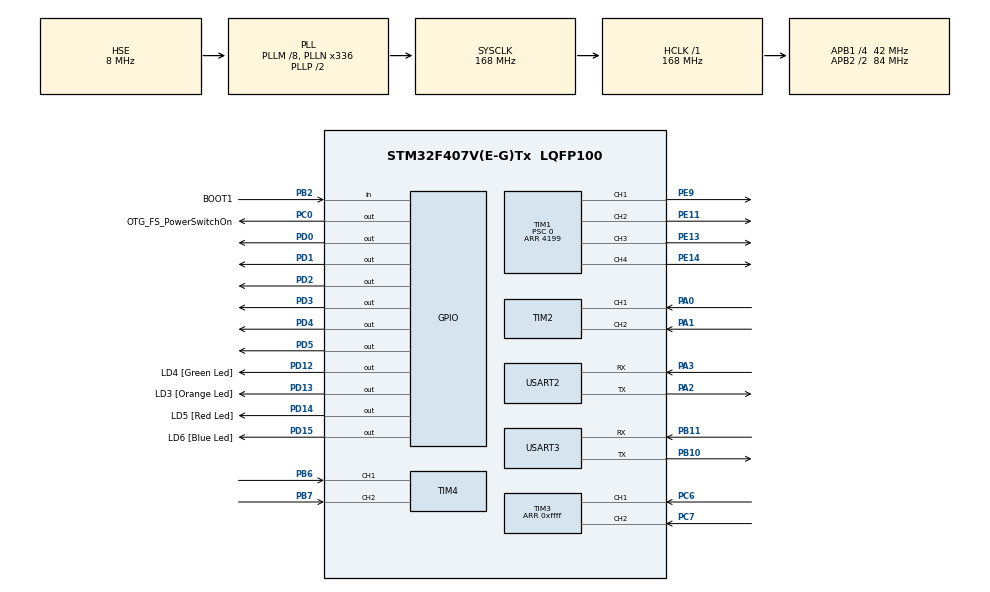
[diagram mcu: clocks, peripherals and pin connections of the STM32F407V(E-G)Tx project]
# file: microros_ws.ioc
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Dma.Request0=USART2_TX
Dma.Request1=USART2_RX
Dma.Request2=USART3_RX
Dma.Request3=USART3_TX
Dma.USART2_RX.1.Direction=DMA_PERIPH_TO_MEMORY
Dma.USART2_RX.1.FIFOMode=DMA_FIFOMODE_DISABLE
Dma.USART2_RX.1.Instance=DMA1_Stream5
Dma.USART2_RX.1.MemDataAlignment=DMA_MDATAALIGN_BYTE
Dma.USART2_RX.1.MemInc=DMA_MINC_ENABLE
Dma.USART2_RX.1.Mode=DMA_CIRCULAR
Dma.USART2_RX.1.PeriphDataAlignment=DMA_PDATAALIGN_BYTE
Dma.USART2_RX.1.PeriphInc=DMA_PINC_DISABLE
Dma.USART2_RX.1.Priority=DMA_PRIORITY_VERY_HIGH
Dma.USART2_TX.0.Direction=DMA_MEMORY_TO_PERIPH
Dma.USART2_TX.0.FIFOMode=DMA_FIFOMODE_DISABLE
Dma.USART2_TX.0.Instance=DMA1_Stream6
Dma.USART2_TX.0.MemDataAlignment=DMA_MDATAALIGN_BYTE
Dma.USART2_TX.0.MemInc=DMA_MINC_ENABLE
Dma.USART2_TX.0.Mode=DMA_NORMAL
Dma.USART2_TX.0.PeriphDataAlignment=DMA_PDATAALIGN_BYTE
Dma.USART2_TX.0.PeriphInc=DMA_PINC_DISABLE
Dma.USART2_TX.0.Priority=DMA_PRIORITY_VERY_HIGH
Dma.USART3_RX.2.Direction=DMA_PERIPH_TO_MEMORY
Dma.USART3_RX.2.FIFOMode=DMA_FIFOMODE_DISABLE
Dma.USART3_RX.2.Instance=DMA1_Stream1
Dma.USART3_RX.2.MemDataAlignment=DMA_MDATAALIGN_BYTE
Dma.USART3_RX.2.MemInc=DMA_MINC_ENABLE
Dma.USART3_RX.2.Mode=DMA_NORMAL
Dma.USART3_RX.2.PeriphDataAlignment=DMA_PDATAALIGN_BYTE
Dma.USART3_RX.2.PeriphInc=DMA_PINC_DISABLE
Dma.USART3_RX.2.Priority=DMA_PRIORITY_LOW
Dma.USART3_TX.3.Direction=DMA_MEMORY_TO_PERIPH
Dma.USART3_TX.3.FIFOMode=DMA_FIFOMODE_DISABLE
Dma.USART3_TX.3.Instance=DMA1_Stream3
Dma.USART3_TX.3.MemDataAlignment=DMA_MDATAALIGN_BYTE
Dma.USART3_TX.3.MemInc=DMA_MINC_ENABLE
Dma.USART3_TX.3.Mode=DMA_NORMAL
Dma.USART3_TX.3.PeriphDataAlignment=DMA_PDATAALIGN_BYTE
Dma.USART3_TX.3.PeriphInc=DMA_PINC_DISABLE
Dma.USART3_TX.3.Priority=DMA_PRIORITY_LOW
FREERTOS.Tasks01=defaultTask,24,3000,StartDefaultTask,Default,NULL,Dynamic,NULL,NULL
Mcu.Family=STM32F4
Mcu.Name=STM32F407V(E-G)Tx
Mcu.Package=LQFP100
NVIC.DMA1_Stream1_IRQn=true\:5\:0\:false\:false\:true\:true\:false\:true\:true
NVIC.DMA1_Stream3_IRQn=true\:5\:0\:false\:false\:true\:true\:false\:true\:true
NVIC.DMA1_Stream5_IRQn=true\:5\:0\:false\:false\:true\:true\:false\:true\:true
NVIC.DMA1_Stream6_IRQn=true\:5\:0\:false\:false\:true\:true\:false\:true\:true
NVIC.PriorityGroup=NVIC_PRIORITYGROUP_4
NVIC.TIM1_BRK_TIM9_IRQn=true\:5\:0\:false\:false\:true\:false\:false\:true\:true
NVIC.TIM1_UP_TIM10_IRQn=true\:5\:0\:false\:false\:true\:true\:true\:true\:true
NVIC.TIM8_UP_TIM13_IRQn=true\:5\:0\:false\:false\:true\:true\:true\:true\:true
NVIC.USART2_IRQn=true\:5\:0\:false\:false\:true\:true\:true\:true\:true
NVIC.USART3_IRQn=true\:5\:0\:false\:false\:true\:true\:true\:true\:true
PA0-WKUP.Signal=S_TIM2_CH1_ETR
PA1.Signal=S_TIM2_CH2
PA13.GPIO_Label=SWDIO
PA13.Mode=Serial_Wire
PA13.Signal=SYS_JTMS-SWDIO
PA14.GPIO_Label=SWCLK
PA14.Mode=Serial_Wire
PA14.Signal=SYS_JTCK-SWCLK
PA2.Mode=Asynchronous
PA2.Signal=USART2_TX
PA3.Mode=Asynchronous
PA3.Signal=USART2_RX
PB10.Mode=Asynchronous
PB10.Signal=USART3_TX
PB11.Mode=Asynchronous
PB11.Signal=USART3_RX
PB2.GPIO_Label=BOOT1
PB2.GPIO_Mode=GPIO_MODE_INPUT
PB2.GPIO_PuPd=GPIO_NOPULL
PB2.Signal=GPIO_Input
PB6.Signal=S_TIM4_CH1
PB7.Signal=S_TIM4_CH2
PC0.GPIO_Label=OTG_FS_PowerSwitchOn
PC0.GPIO_PuPd=GPIO_NOPULL
PC0.GPIO_Speed=GPIO_SPEED_FREQ_LOW
PC0.PinState=GPIO_PIN_SET
PC0.Signal=GPIO_Output
PC14-OSC32_IN.Mode=LSE-External-Oscillator
PC14-OSC32_IN.Signal=RCC_OSC32_IN
PC15-OSC32_OUT.Mode=LSE-External-Oscillator
PC15-OSC32_OUT.Signal=RCC_OSC32_OUT
PC6.Signal=S_TIM3_CH1
PC7.Signal=S_TIM3_CH2
PD0.Signal=GPIO_Output
PD1.Signal=GPIO_Output
PD12.GPIO_Label=LD4 [Green Led]
PD12.GPIO_PuPd=GPIO_NOPULL
PD12.GPIO_Speed=GPIO_SPEED_FREQ_LOW
PD12.Signal=GPIO_Output
PD13.GPIO_Label=LD3 [Orange Led]
PD13.GPIO_PuPd=GPIO_NOPULL
PD13.GPIO_Speed=GPIO_SPEED_FREQ_LOW
PD13.Signal=GPIO_Output
PD14.GPIO_Label=LD5 [Red Led]
PD14.GPIO_PuPd=GPIO_NOPULL
PD14.GPIO_Speed=GPIO_SPEED_FREQ_LOW
PD14.Signal=GPIO_Output
PD15.GPIO_Label=LD6 [Blue Led]
PD15.GPIO_PuPd=GPIO_NOPULL
PD15.GPIO_Speed=GPIO_SPEED_FREQ_LOW
PD15.Signal=GPIO_Output
PD2.Signal=GPIO_Output
PD3.Signal=GPIO_Output
PD4.Signal=GPIO_Output
PD5.Signal=GPIO_Output
PE11.Signal=S_TIM1_CH2
PE13.Signal=S_TIM1_CH3
PE14.Signal=S_TIM1_CH4
PE9.Signal=S_TIM1_CH1
PH0-OSC_IN.Mode=HSE-External-Oscillator
PH0-OSC_IN.Signal=RCC_OSC_IN
PH1-OSC_OUT.Mode=HSE-External-Oscillator
PH1-OSC_OUT.Signal=RCC_OSC_OUT
ProjectManager.HeapSize=0x200
ProjectManager.StackSize=0x400
ProjectManager.TargetToolchain=STM32CubeIDE
RCC.48MHZClocksFreq_Value=48000000
RCC.AHBFreq_Value=168000000
RCC.APB1CLKDivider=RCC_HCLK_DIV4
RCC.APB1Freq_Value=42000000
RCC.APB1TimFreq_Value=84000000
RCC.APB2CLKDivider=RCC_HCLK_DIV2
RCC.APB2Freq_Value=84000000
RCC.APB2TimFreq_Value=168000000
RCC.CortexFreq_Value=168000000
RCC.HCLKFreq_Value=168000000
RCC.HSE_VALUE=8000000
RCC.HSI_VALUE=16000000
RCC.PLLM=8
RCC.PLLN=336
RCC.PLLQ=7
RCC.PLLSourceVirtual=RCC_PLLSOURCE_HSE
RCC.SYSCLKFreq_VALUE=168000000
RCC.SYSCLKSource=RCC_SYSCLKSOURCE_PLLCLK
RCC.VCOOutputFreq_Value=336000000
SH.S_TIM1_CH1.0=TIM1_CH1,PWM Generation1 CH1
SH.S_TIM1_CH2.0=TIM1_CH2,PWM Generation2 CH2
SH.S_TIM1_CH3.0=TIM1_CH3,PWM Generation3 CH3
SH.S_TIM1_CH4.0=TIM1_CH4,PWM Generation4 CH4
SH.S_TIM2_CH1_ETR.0=TIM2_CH1,Encoder_Interface
SH.S_TIM2_CH2.0=TIM2_CH2,Encoder_Interface
SH.S_TIM3_CH1.0=TIM3_CH1,Encoder_Interface
SH.S_TIM3_CH2.0=TIM3_CH2,Encoder_Interface
SH.S_TIM4_CH1.0=TIM4_CH1,Encoder_Interface
SH.S_TIM4_CH2.0=TIM4_CH2,Encoder_Interface
TIM1.Channel-PWM\ Generation1\ CH1=TIM_CHANNEL_1
TIM1.Channel-PWM\ Generation2\ CH2=TIM_CHANNEL_2
TIM1.Channel-PWM\ Generation3\ CH3=TIM_CHANNEL_3
TIM1.Channel-PWM\ Generation4\ CH4=TIM_CHANNEL_4
TIM1.Period=4199
TIM1.Prescaler=0
TIM2.EncoderMode=TIM_ENCODERMODE_TI12
TIM3.EncoderMode=TIM_ENCODERMODE_TI12
TIM3.Period=0xffff
TIM4.EncoderMode=TIM_ENCODERMODE_TI12
TIM8.AutoReloadPreload=TIM_AUTORELOAD_PRELOAD_ENABLE
TIM8.Period=9999 
TIM8.Prescaler=167
USART2.VirtualMode=VM_ASYNC
USART3.VirtualMode=VM_ASYNC
VP_FREERTOS_VS_CMSIS_V2.Mode=CMSIS_V2
VP_TIM8_VS_ClockSourceINT.Mode=Internal
board=STM32F407G-DISC1

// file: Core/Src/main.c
/* USER CODE BEGIN Header */
/**
  ******************************************************************************
  * @file           : main.c
  * @brief          : Main program body
  ******************************************************************************
  * @attention
  *
  * Copyright (c) 2025 STMicroelectronics.
  * All rights reserved.
  *
  * This software is licensed under terms that can be found in the LICENSE file
  * in the root directory of this software component.
  * If no LICENSE file comes with this software, it is provided AS-IS.
  *
  ******************************************************************************
  */
/* USER CODE END Header */
#include "main.h"
#include "cmsis_os.h"

/* USER CODE BEGIN Includes */
#include <rcl/rcl.h>
#include <rcl/error_handling.h>
#include <rclc/rclc.h>
#include <rclc/executor.h>
#include <uxr/client/transport.h>
#include <rmw_microxrcedds_c/config.h>
#include <rmw_microros/rmw_microros.h>
#include <std_msgs/msg/float32.h>
#include <geometry_msgs/msg/twist.h>
#include <geometry_msgs/msg/twist_stamped.h>
#include <std_msgs/msg/int32.h>
#include <sensor_msgs/msg/joint_state.h>
#include <rosidl_runtime_c/string_functions.h>
#include <geometry_msgs/msg/vector3.h>
#include <math.h>
#include "stdio.h"
#include "string.h"
#include "motor.h"
#include "user_define.h"
/* USER CODE END Includes */

/* USER CODE BEGIN PD */
#define TICKS_TO_RAD (2.0f * 3.14159265f / (float)PPR)
/* USER CODE END PD */

TIM_HandleTypeDef htim1;
TIM_HandleTypeDef htim2;
TIM_HandleTypeDef htim3;
TIM_HandleTypeDef htim4;
TIM_HandleTypeDef htim8;

UART_HandleTypeDef huart2;
UART_HandleTypeDef huart3;
DMA_HandleTypeDef hdma_usart2_tx;
DMA_HandleTypeDef hdma_usart2_rx;
DMA_HandleTypeDef hdma_usart3_rx;
DMA_HandleTypeDef hdma_usart3_tx;

/* Definitions for defaultTask */
osThreadId_t defaultTaskHandle;
const osThreadAttr_t defaultTask_attributes = {
  .name = "defaultTask",
  .stack_size = 3000 * 4,
  .priority = (osPriority_t) osPriorityNormal,
};
/* USER CODE BEGIN PV */
int64_t total_ticks_left = 0;
int64_t total_ticks_right = 0;
uint16_t last_counter_left = 0;
uint16_t last_counter_right = 0;
volatile bool is_ros_connected = false;
volatile float current_test_setpoint = 0.0f;
double joint_position_buffer[4];
double joint_velocity_buffer[4];
rosidl_runtime_c__String joint_name_buffer[4];
geometry_msgs__msg__TwistStamped cmd_vel_msg;
sensor_msgs__msg__JointState joint_msg;
geometry_msgs__msg__Vector3 pid_msg;
/* USER CODE END PV */

void SystemClock_Config(void);
static void MX_GPIO_Init(void);
static void MX_DMA_Init(void);
static void MX_USART2_UART_Init(void);
static void MX_TIM1_Init(void);
static void MX_TIM3_Init(void);
static void MX_TIM4_Init(void);
static void MX_USART3_UART_Init(void);
static void MX_TIM2_Init(void);
static void MX_TIM8_Init(void);
void StartDefaultTask(void *argument);

/* USER CODE BEGIN 0 */
Motor_t motor2, motor3,motor_steering;
PID_CONTROL_t pid_vel1, pid_vel2,pid_pos;
volatile float target_speed;
volatile float target_angle;
extern float dkp;
extern float dki;
extern float dkd;
volatile float debug_omega;
extern float dset_point;
/* USER CODE END 0 */

int main(void)
{

  /* MCU Configuration--------------------------------------------------------*/

  /* Reset of all peripherals, Initializes the Flash interface and the Systick. */
  HAL_Init();

  /* Configure the system clock */
  SystemClock_Config();

  /* Initialize all configured peripherals */
  MX_GPIO_Init();
  MX_DMA_Init();
  MX_USART2_UART_Init();
  MX_TIM1_Init();
  MX_TIM3_Init();
  MX_TIM4_Init();
  MX_USART3_UART_Init();
  MX_TIM2_Init();
  MX_TIM8_Init();

  /* Init scheduler */
  osKernelInitialize();

  /* Create the thread(s) */
  /* creation of defaultTask */
  defaultTaskHandle = osThreadNew(StartDefaultTask, NULL, &defaultTask_attributes);

  /* Start scheduler */
  osKernelStart();

  /* We should never get here as control is now taken by the scheduler */

  /* Infinite loop */
  while (1)
  {

  }
}

void SystemClock_Config(void)
{
  RCC_OscInitTypeDef RCC_OscInitStruct = {0};
  RCC_ClkInitTypeDef RCC_ClkInitStruct = {0};

  /** Configure the main internal regulator output voltage
  */
  __HAL_RCC_PWR_CLK_ENABLE();
  __HAL_PWR_VOLTAGESCALING_CONFIG(PWR_REGULATOR_VOLTAGE_SCALE1);

  /** Initializes the RCC Oscillators according to the specified parameters
  * in the RCC_OscInitTypeDef structure.
  */
  RCC_OscInitStruct.OscillatorType = RCC_OSCILLATORTYPE_HSE;
  RCC_OscInitStruct.HSEState = RCC_HSE_ON;
  RCC_OscInitStruct.PLL.PLLState = RCC_PLL_ON;
  RCC_OscInitStruct.PLL.PLLSource = RCC_PLLSOURCE_HSE;
  RCC_OscInitStruct.PLL.PLLM = 8;
  RCC_OscInitStruct.PLL.PLLN = 336;
  RCC_OscInitStruct.PLL.PLLP = RCC_PLLP_DIV2;
  RCC_OscInitStruct.PLL.PLLQ = 7;
  if (HAL_RCC_OscConfig(&RCC_OscInitStruct) != HAL_OK)
  {
    Error_Handler();
  }

  /** Initializes the CPU, AHB and APB buses clocks
  */
  RCC_ClkInitStruct.ClockType = RCC_CLOCKTYPE_HCLK|RCC_CLOCKTYPE_SYSCLK
                              |RCC_CLOCKTYPE_PCLK1|RCC_CLOCKTYPE_PCLK2;
  RCC_ClkInitStruct.SYSCLKSource = RCC_SYSCLKSOURCE_PLLCLK;
  RCC_ClkInitStruct.AHBCLKDivider = RCC_SYSCLK_DIV1;
  RCC_ClkInitStruct.APB1CLKDivider = RCC_HCLK_DIV4;
  RCC_ClkInitStruct.APB2CLKDivider = RCC_HCLK_DIV2;

  if (HAL_RCC_ClockConfig(&RCC_ClkInitStruct, FLASH_LATENCY_5) != HAL_OK)
  {
    Error_Handler();
  }
}

static void MX_TIM1_Init(void)
{

  TIM_MasterConfigTypeDef sMasterConfig = {0};
  TIM_OC_InitTypeDef sConfigOC = {0};
  TIM_BreakDeadTimeConfigTypeDef sBreakDeadTimeConfig = {0};

  htim1.Instance = TIM1;
  htim1.Init.Prescaler = 0;
  htim1.Init.CounterMode = TIM_COUNTERMODE_UP;
  htim1.Init.Period = 4199;
  htim1.Init.ClockDivision = TIM_CLOCKDIVISION_DIV1;
  htim1.Init.RepetitionCounter = 0;
  htim1.Init.AutoReloadPreload = TIM_AUTORELOAD_PRELOAD_DISABLE;
  if (HAL_TIM_PWM_Init(&htim1) != HAL_OK)
  {
    Error_Handler();
  }
  sMasterConfig.MasterOutputTrigger = TIM_TRGO_RESET;
  sMasterConfig.MasterSlaveMode = TIM_MASTERSLAVEMODE_DISABLE;
  if (HAL_TIMEx_MasterConfigSynchronization(&htim1, &sMasterConfig) != HAL_OK)
  {
    Error_Handler();
  }
  sConfigOC.OCMode = TIM_OCMODE_PWM1;
  sConfigOC.Pulse = 0;
  sConfigOC.OCPolarity = TIM_OCPOLARITY_HIGH;
  sConfigOC.OCNPolarity = TIM_OCNPOLARITY_HIGH;
  sConfigOC.OCFastMode = TIM_OCFAST_DISABLE;
  sConfigOC.OCIdleState = TIM_OCIDLESTATE_RESET;
  sConfigOC.OCNIdleState = TIM_OCNIDLESTATE_RESET;
  if (HAL_TIM_PWM_ConfigChannel(&htim1, &sConfigOC, TIM_CHANNEL_1) != HAL_OK)
  {
    Error_Handler();
  }
  if (HAL_TIM_PWM_ConfigChannel(&htim1, &sConfigOC, TIM_CHANNEL_2) != HAL_OK)
  {
    Error_Handler();
  }
  if (HAL_TIM_PWM_ConfigChannel(&htim1, &sConfigOC, TIM_CHANNEL_3) != HAL_OK)
  {
    Error_Handler();
  }
  if (HAL_TIM_PWM_ConfigChannel(&htim1, &sConfigOC, TIM_CHANNEL_4) != HAL_OK)
  {
    Error_Handler();
  }
  sBreakDeadTimeConfig.OffStateRunMode = TIM_OSSR_DISABLE;
  sBreakDeadTimeConfig.OffStateIDLEMode = TIM_OSSI_DISABLE;
  sBreakDeadTimeConfig.LockLevel = TIM_LOCKLEVEL_OFF;
  sBreakDeadTimeConfig.DeadTime = 0;
  sBreakDeadTimeConfig.BreakState = TIM_BREAK_DISABLE;
  sBreakDeadTimeConfig.BreakPolarity = TIM_BREAKPOLARITY_HIGH;
  sBreakDeadTimeConfig.AutomaticOutput = TIM_AUTOMATICOUTPUT_DISABLE;
  if (HAL_TIMEx_ConfigBreakDeadTime(&htim1, &sBreakDeadTimeConfig) != HAL_OK)
  {
    Error_Handler();
  }
  HAL_TIM_MspPostInit(&htim1);

}

static void MX_TIM2_Init(void)
{

  TIM_Encoder_InitTypeDef sConfig = {0};
  TIM_MasterConfigTypeDef sMasterConfig = {0};

  htim2.Instance = TIM2;
  htim2.Init.Prescaler = 0;
  htim2.Init.CounterMode = TIM_COUNTERMODE_UP;
  htim2.Init.Period = 4294967295;
  htim2.Init.ClockDivision = TIM_CLOCKDIVISION_DIV1;
  htim2.Init.AutoReloadPreload = TIM_AUTORELOAD_PRELOAD_DISABLE;
  sConfig.EncoderMode = TIM_ENCODERMODE_TI12;
  sConfig.IC1Polarity = TIM_ICPOLARITY_RISING;
  sConfig.IC1Selection = TIM_ICSELECTION_DIRECTTI;
  sConfig.IC1Prescaler = TIM_ICPSC_DIV1;
  sConfig.IC1Filter = 0;
  sConfig.IC2Polarity = TIM_ICPOLARITY_RISING;
  sConfig.IC2Selection = TIM_ICSELECTION_DIRECTTI;
  sConfig.IC2Prescaler = TIM_ICPSC_DIV1;
  sConfig.IC2Filter = 0;
  if (HAL_TIM_Encoder_Init(&htim2, &sConfig) != HAL_OK)
  {
    Error_Handler();
  }
  sMasterConfig.MasterOutputTrigger = TIM_TRGO_RESET;
  sMasterConfig.MasterSlaveMode = TIM_MASTERSLAVEMODE_DISABLE;
  if (HAL_TIMEx_MasterConfigSynchronization(&htim2, &sMasterConfig) != HAL_OK)
  {
    Error_Handler();
  }

}

static void MX_TIM3_Init(void)
{

  TIM_Encoder_InitTypeDef sConfig = {0};
  TIM_MasterConfigTypeDef sMasterConfig = {0};

  htim3.Instance = TIM3;
  htim3.Init.Prescaler = 0;
  htim3.Init.CounterMode = TIM_COUNTERMODE_UP;
  htim3.Init.Period = 0xffff;
  htim3.Init.ClockDivision = TIM_CLOCKDIVISION_DIV1;
  htim3.Init.AutoReloadPreload = TIM_AUTORELOAD_PRELOAD_DISABLE;
  sConfig.EncoderMode = TIM_ENCODERMODE_TI12;
  sConfig.IC1Polarity = TIM_ICPOLARITY_RISING;
  sConfig.IC1Selection = TIM_ICSELECTION_DIRECTTI;
  sConfig.IC1Prescaler = TIM_ICPSC_DIV1;
  sConfig.IC1Filter = 0;
  sConfig.IC2Polarity = TIM_ICPOLARITY_RISING;
  sConfig.IC2Selection = TIM_ICSELECTION_DIRECTTI;
  sConfig.IC2Prescaler = TIM_ICPSC_DIV1;
  sConfig.IC2Filter = 0;
  if (HAL_TIM_Encoder_Init(&htim3, &sConfig) != HAL_OK)
  {
    Error_Handler();
  }
  sMasterConfig.MasterOutputTrigger = TIM_TRGO_RESET;
  sMasterConfig.MasterSlaveMode = TIM_MASTERSLAVEMODE_DISABLE;
  if (HAL_TIMEx_MasterConfigSynchronization(&htim3, &sMasterConfig) != HAL_OK)
  {
    Error_Handler();
  }

}

static void MX_TIM4_Init(void)
{

  TIM_Encoder_InitTypeDef sConfig = {0};
  TIM_MasterConfigTypeDef sMasterConfig = {0};

  htim4.Instance = TIM4;
  htim4.Init.Prescaler = 0;
  htim4.Init.CounterMode = TIM_COUNTERMODE_UP;
  htim4.Init.Period = 65535;
  htim4.Init.ClockDivision = TIM_CLOCKDIVISION_DIV1;
  htim4.Init.AutoReloadPreload = TIM_AUTORELOAD_PRELOAD_DISABLE;
  sConfig.EncoderMode = TIM_ENCODERMODE_TI12;
  sConfig.IC1Polarity = TIM_ICPOLARITY_RISING;
  sConfig.IC1Selection = TIM_ICSELECTION_DIRECTTI;
  sConfig.IC1Prescaler = TIM_ICPSC_DIV1;
  sConfig.IC1Filter = 0;
  sConfig.IC2Polarity = TIM_ICPOLARITY_RISING;
  sConfig.IC2Selection = TIM_ICSELECTION_DIRECTTI;
  sConfig.IC2Prescaler = TIM_ICPSC_DIV1;
  sConfig.IC2Filter = 0;
  if (HAL_TIM_Encoder_Init(&htim4, &sConfig) != HAL_OK)
  {
    Error_Handler();
  }
  sMasterConfig.MasterOutputTrigger = TIM_TRGO_RESET;
  sMasterConfig.MasterSlaveMode = TIM_MASTERSLAVEMODE_DISABLE;
  if (HAL_TIMEx_MasterConfigSynchronization(&htim4, &sMasterConfig) != HAL_OK)
  {
    Error_Handler();
  }

}

static void MX_TIM8_Init(void)
{

  TIM_ClockConfigTypeDef sClockSourceConfig = {0};
  TIM_MasterConfigTypeDef sMasterConfig = {0};

  htim8.Instance = TIM8;
  htim8.Init.Prescaler = 167;
  htim8.Init.CounterMode = TIM_COUNTERMODE_UP;
  htim8.Init.Period = 9999 ;
  htim8.Init.ClockDivision = TIM_CLOCKDIVISION_DIV1;
  htim8.Init.RepetitionCounter = 0;
  htim8.Init.AutoReloadPreload = TIM_AUTORELOAD_PRELOAD_ENABLE;
  if (HAL_TIM_Base_Init(&htim8) != HAL_OK)
  {
    Error_Handler();
  }
  sClockSourceConfig.ClockSource = TIM_CLOCKSOURCE_INTERNAL;
  if (HAL_TIM_ConfigClockSource(&htim8, &sClockSourceConfig) != HAL_OK)
  {
    Error_Handler();
  }
  sMasterConfig.MasterOutputTrigger = TIM_TRGO_RESET;
  sMasterConfig.MasterSlaveMode = TIM_MASTERSLAVEMODE_DISABLE;
  if (HAL_TIMEx_MasterConfigSynchronization(&htim8, &sMasterConfig) != HAL_OK)
  {
    Error_Handler();
  }

}

static void MX_USART2_UART_Init(void)
{

  huart2.Instance = USART2;
  huart2.Init.BaudRate = 115200;
  huart2.Init.WordLength = UART_WORDLENGTH_8B;
  huart2.Init.StopBits = UART_STOPBITS_1;
  huart2.Init.Parity = UART_PARITY_NONE;
  huart2.Init.Mode = UART_MODE_TX_RX;
  huart2.Init.HwFlowCtl = UART_HWCONTROL_NONE;
  huart2.Init.OverSampling = UART_OVERSAMPLING_16;
  if (HAL_UART_Init(&huart2) != HAL_OK)
  {
    Error_Handler();
  }

}

static void MX_USART3_UART_Init(void)
{

  huart3.Instance = USART3;
  huart3.Init.BaudRate = 115200;
  huart3.Init.WordLength = UART_WORDLENGTH_8B;
  huart3.Init.StopBits = UART_STOPBITS_1;
  huart3.Init.Parity = UART_PARITY_NONE;
  huart3.Init.Mode = UART_MODE_TX_RX;
  huart3.Init.HwFlowCtl = UART_HWCONTROL_NONE;
  huart3.Init.OverSampling = UART_OVERSAMPLING_16;
  if (HAL_UART_Init(&huart3) != HAL_OK)
  {
    Error_Handler();
  }

}

static void MX_DMA_Init(void)
{

  /* DMA controller clock enable */
  __HAL_RCC_DMA1_CLK_ENABLE();

  /* DMA interrupt init */
  /* DMA1_Stream1_IRQn interrupt configuration */
  HAL_NVIC_SetPriority(DMA1_Stream1_IRQn, 5, 0);
  HAL_NVIC_EnableIRQ(DMA1_Stream1_IRQn);
  /* DMA1_Stream3_IRQn interrupt configuration */
  HAL_NVIC_SetPriority(DMA1_Stream3_IRQn, 5, 0);
  HAL_NVIC_EnableIRQ(DMA1_Stream3_IRQn);
  /* DMA1_Stream5_IRQn interrupt configuration */
  HAL_NVIC_SetPriority(DMA1_Stream5_IRQn, 5, 0);
  HAL_NVIC_EnableIRQ(DMA1_Stream5_IRQn);
  /* DMA1_Stream6_IRQn interrupt configuration */
  HAL_NVIC_SetPriority(DMA1_Stream6_IRQn, 5, 0);
  HAL_NVIC_EnableIRQ(DMA1_Stream6_IRQn);

}

static void MX_GPIO_Init(void)
{
  GPIO_InitTypeDef GPIO_InitStruct = {0};

  /* GPIO Ports Clock Enable */
  __HAL_RCC_GPIOC_CLK_ENABLE();
  __HAL_RCC_GPIOH_CLK_ENABLE();
  __HAL_RCC_GPIOA_CLK_ENABLE();
  __HAL_RCC_GPIOB_CLK_ENABLE();
  __HAL_RCC_GPIOE_CLK_ENABLE();
  __HAL_RCC_GPIOD_CLK_ENABLE();

  /*Configure GPIO pin Output Level */
  HAL_GPIO_WritePin(OTG_FS_PowerSwitchOn_GPIO_Port, OTG_FS_PowerSwitchOn_Pin, GPIO_PIN_SET);

  /*Configure GPIO pin Output Level */
  HAL_GPIO_WritePin(GPIOD, LD4_Pin|LD3_Pin|LD5_Pin|LD6_Pin
                          |GPIO_PIN_0|GPIO_PIN_1|GPIO_PIN_2|GPIO_PIN_3
                          |GPIO_PIN_4|GPIO_PIN_5, GPIO_PIN_RESET);

  /*Configure GPIO pin : OTG_FS_PowerSwitchOn_Pin */
  GPIO_InitStruct.Pin = OTG_FS_PowerSwitchOn_Pin;
  GPIO_InitStruct.Mode = GPIO_MODE_OUTPUT_PP;
  GPIO_InitStruct.Pull = GPIO_NOPULL;
  GPIO_InitStruct.Speed = GPIO_SPEED_FREQ_LOW;
  HAL_GPIO_Init(OTG_FS_PowerSwitchOn_GPIO_Port, &GPIO_InitStruct);

  /*Configure GPIO pin : BOOT1_Pin */
  GPIO_InitStruct.Pin = BOOT1_Pin;
  GPIO_InitStruct.Mode = GPIO_MODE_INPUT;
  GPIO_InitStruct.Pull = GPIO_NOPULL;
  HAL_GPIO_Init(BOOT1_GPIO_Port, &GPIO_InitStruct);

  /*Configure GPIO pins : LD4_Pin LD3_Pin LD5_Pin LD6_Pin
                           PD0 PD1 PD2 PD3
                           PD4 PD5 */
  GPIO_InitStruct.Pin = LD4_Pin|LD3_Pin|LD5_Pin|LD6_Pin
                          |GPIO_PIN_0|GPIO_PIN_1|GPIO_PIN_2|GPIO_PIN_3
                          |GPIO_PIN_4|GPIO_PIN_5;
  GPIO_InitStruct.Mode = GPIO_MODE_OUTPUT_PP;
  GPIO_InitStruct.Pull = GPIO_NOPULL;
  GPIO_InitStruct.Speed = GPIO_SPEED_FREQ_LOW;
  HAL_GPIO_Init(GPIOD, &GPIO_InitStruct);

}

/* USER CODE BEGIN 4 */
bool cubemx_transport_open(struct uxrCustomTransport * transport);
bool cubemx_transport_close(struct uxrCustomTransport * transport);
size_t cubemx_transport_write(struct uxrCustomTransport* transport, const uint8_t * buf, size_t len, uint8_t * err);
size_t cubemx_transport_read(struct uxrCustomTransport* transport, uint8_t* buf, size_t len, int timeout, uint8_t* err);

void * microros_allocate(size_t size, void * state);
void microros_deallocate(void * pointer, void * state);
void * microros_reallocate(void * pointer, size_t size, void * state);
void * microros_zero_allocate(size_t number_of_elements, size_t size_of_element, void * state);

void update_encoder_cumulative(TIM_HandleTypeDef *htim, uint16_t *last_counter, int64_t *total_ticks)
{
    uint16_t current_counter = __HAL_TIM_GET_COUNTER(htim);
    int16_t diff = (int16_t)(current_counter - *last_counter);
    *total_ticks += diff;
    *last_counter = current_counter;
}
// --------------------------------------------------------------------------
void cmd_vel_callback(const void *msgin)
{
    const geometry_msgs__msg__TwistStamped * msg = (const geometry_msgs__msg__TwistStamped *)msgin;
        float v = msg->twist.linear.x;
        float omega = msg->twist.angular.z;
        target_speed = v;
        debug_omega = omega;

            if (fabs(v) > 0.01f)
            {
                float raw_angle = atanf((omega * WHEELBASE) / v);

                if (raw_angle > MAX_STEER_ANGLE_RAD) target_angle = MAX_STEER_ANGLE_RAD;
                else if (raw_angle < -MAX_STEER_ANGLE_RAD) target_angle = -MAX_STEER_ANGLE_RAD;
                else target_angle = raw_angle;
            }
            else
            {
                if (fabs(omega) > 0.01f) {
                    target_angle = (omega > 0) ? MAX_STEER_ANGLE_RAD : -MAX_STEER_ANGLE_RAD;
                } else {
                    target_angle = 0.0f;
                }
            }
    HAL_GPIO_TogglePin(GPIOD, GPIO_PIN_14);
}
void pid_callback(const void * msgin)
{
    const geometry_msgs__msg__Vector3 * msg = (const geometry_msgs__msg__Vector3 *)msgin;

    __disable_irq();

    pid_vel1.dkp = msg->x;
    pid_vel1.dki = msg->y;
    pid_vel1.dkd = msg->z;

    pid_vel2.dkp = msg->x;
    pid_vel2.dki = msg->y;
    pid_vel2.dkd = msg->z;

    __enable_irq();
}

void HAL_TIM_PeriodElapsedCallback(TIM_HandleTypeDef *htim)
{
	if (htim->Instance == TIM8)
	    {
	        motor_read_encoder(&motor_steering, &htim2);
	        motor_read_encoder(&motor2, &htim3);
	        motor_read_encoder(&motor3, &htim4);
	        if (is_ros_connected)
	        {

	        	float duty1 = MotorPIDPosition(&motor_steering, &pid_pos,target_angle);
	        	float duty2 = MotorPIDVelocity(&motor2, &pid_vel1, target_speed);
	            float duty3 = MotorPIDVelocity(&motor3, &pid_vel2, target_speed);
	           MotorSetDuty1((int)duty1);
	           MotorSetDuty2((int)duty2);
	           MotorSetDuty3((int)duty3);

	        }
	       else
	        {
	            MotorSetDuty1(0);
	            MotorSetDuty2(0);
	            MotorSetDuty3(0);

	            pid_reset(&pid_vel1);
	            pid_reset(&pid_vel2);
	            pid_reset(&pid_pos);

	            target_speed = 0.0f;
	            target_angle = 0.0f;

	            motor_sync_reset(&motor_steering, &htim2);
	            motor_sync_reset(&motor2, &htim3);
	            motor_sync_reset(&motor3, &htim4);

	        }
	    }

}
/* USER CODE END 4 */

void StartDefaultTask(void *argument)
{
  /* USER CODE BEGIN 5 */
    /* --- Hardware init --- */
    motor_init(&motor2, PPR);
    pid_init(&pid_vel1,6000.0f,6000.0f, 000.0, PID_CONTROLLER_LIMIT_MAX, PID_CONTROLLER_LIMIT_MIN, SAMPLING_TIME);
    motor_init(&motor3, PPR);
    pid_init(&pid_vel2,4000.0f,7000.0f,100.0, PID_CONTROLLER_LIMIT_MAX, PID_CONTROLLER_LIMIT_MIN, SAMPLING_TIME);
    motor_init(&motor_steering, PPR_1);
    pid_init(&pid_pos,18000.0f,000.0f,500.0f, PID_CONTROLLER_LIMIT_MAX, PID_CONTROLLER_LIMIT_MIN, SAMPLING_TIME);
	// Start the Timer Interrupt for PID
	HAL_TIM_Base_Start_IT(&htim8);
	// micro-ROS configuratio

	rmw_uros_set_custom_transport(
    true,
    (void *) &huart2,
    cubemx_transport_open,
    cubemx_transport_close,
    cubemx_transport_write,
    cubemx_transport_read);

	rcl_allocator_t freeRTOS_allocator = rcutils_get_zero_initialized_allocator();
	freeRTOS_allocator.allocate = microros_allocate;
	freeRTOS_allocator.deallocate = microros_deallocate;
	freeRTOS_allocator.reallocate = microros_reallocate;
	freeRTOS_allocator.zero_allocate =  microros_zero_allocate;

	if (!rcutils_set_default_allocator(&freeRTOS_allocator)) {
      printf("Error on default allocators (line %d)\n", __LINE__);
	}

	// micro-ROS
	rcl_publisher_t publisher;
	rclc_support_t support;
	rcl_allocator_t allocator;
	rcl_node_t node;
	rcl_publisher_t feedback_pub1;
	rcl_publisher_t feedback_pub2;
	rcl_subscription_t cmd_sub;
	rclc_executor_t executor;
	std_msgs__msg__Float32 feedback_msg1;
	std_msgs__msg__Float32 feedback_msg2;

	rcl_subscription_t pid_sub;
    rcl_publisher_t joint_pub;
    static const char* frame_names[] = {
          "rear_left_wheel_joint",
          "rear_right_wheel_joint",
          "front_left_steering_joint",
          "front_right_steering_joint"
    };
    joint_msg.name.capacity = 4;
    joint_msg.name.size = 4;
    joint_msg.name.data = joint_name_buffer;

    joint_msg.position.capacity = 4;
    joint_msg.position.size = 4;
    joint_msg.position.data = joint_position_buffer;

    joint_msg.velocity.capacity = 4;
    joint_msg.velocity.size = 4;
    joint_msg.velocity.data = joint_velocity_buffer;

    joint_msg.effort.capacity = 0;
    joint_msg.effort.size = 0;
    for(int i=0; i<4; i++) {
         rosidl_runtime_c__String__init(&joint_msg.name.data[i]);
         rosidl_runtime_c__String__assign(&joint_msg.name.data[i], frame_names[i]);
    }
    rosidl_runtime_c__String__init(&joint_msg.header.frame_id);
    rosidl_runtime_c__String__assign(&joint_msg.header.frame_id, "base_link");

    allocator = rcl_get_default_allocator();
    rclc_support_init(&support, 0, NULL, &allocator);
    rclc_node_init_default(&node, "cubemx_node", "", &support);
    rclc_publisher_init_default(
    &publisher,
    &node,
    ROSIDL_GET_MSG_TYPE_SUPPORT(std_msgs, msg, Int32),
    "cubemx_publisher");

    rclc_publisher_init_default(
      &feedback_pub1,
      &node,
      ROSIDL_GET_MSG_TYPE_SUPPORT(std_msgs, msg, Float32),
      "motor1_feedback");

    rclc_publisher_init_default(
      &feedback_pub2,
      &node,
      ROSIDL_GET_MSG_TYPE_SUPPORT(std_msgs, msg, Float32),
      "motor2_feedback");
    rclc_publisher_init_default(
      &joint_pub,
      &node,
      ROSIDL_GET_MSG_TYPE_SUPPORT(sensor_msgs, msg, JointState),
      "joint_states");

    rclc_subscription_init_default(
      &cmd_sub,
      &node,
      ROSIDL_GET_MSG_TYPE_SUPPORT(geometry_msgs, msg, TwistStamped),
      "ackermann_controller/cmd_vel");
    rclc_subscription_init_default(
      &pid_sub,
      &node,
      ROSIDL_GET_MSG_TYPE_SUPPORT(geometry_msgs, msg, Vector3),
      "pid_vel_tuning");

    rclc_executor_init(&executor, &support.context, 2, &allocator);
    rclc_executor_add_subscription(&executor, &cmd_sub, &cmd_vel_msg, &cmd_vel_callback, ON_NEW_DATA);
    rclc_executor_add_subscription(&executor, &pid_sub, &pid_msg, &pid_callback, ON_NEW_DATA);

    rcl_ret_t ping_result;
    uint32_t ping_counter = 0;
    uint32_t last_publish_time = HAL_GetTick();
    const uint32_t PUBLISH_INTERVAL_MS = 20; // 50Hz
  for(;;)
  {

	  	  if (rmw_uros_epoch_nanos() > 0){
	  		  	  is_ros_connected = true;
	      }else {
	            ping_counter++;
	            if (ping_counter >= 100) {
	                ping_result = rmw_uros_ping_agent(1, 1);
	                is_ros_connected = (ping_result == RMW_RET_OK);
	                ping_counter = 0;
	            }
	        }
	  	  rclc_executor_spin_some(&executor, RCL_MS_TO_NS(1));
	  	  uint32_t current_time = HAL_GetTick();

	  	  if (is_ros_connected && (current_time - last_publish_time >= PUBLISH_INTERVAL_MS))
	  	  {
	  		  last_publish_time = current_time;

	  		  __disable_irq();
	  		  float v2 = motor2.dvelocity;
	  		  float v3 = motor3.dvelocity;
	  		  float p2 = motor2.dposition;
	  		  float p3 = motor3.dposition;
	  		  float p_steer = motor_steering.dposition;
	  		  __enable_irq();

	  		  feedback_msg1.data = v2;
	  		  feedback_msg2.data = v3;
	  		  rcl_ret_t ret1 = rcl_publish(&feedback_pub1, &feedback_msg1, NULL);
	   	      	  if (ret1 != RCL_RET_OK) {
	   	              printf("Error publishing motor1 feedback (line %d)\n", __LINE__);
	   	      	  }
	   	      rcl_ret_t ret2 = rcl_publish(&feedback_pub2, &feedback_msg2, NULL);
	   	          if (ret2 != RCL_RET_OK) {
	   	              printf("Error publishing motor2 feedback (line %d)\n", __LINE__);
	   	          }
	   	      int64_t time_ns = rmw_uros_epoch_nanos();
	   	      joint_msg.header.stamp.sec = time_ns / 1000000000;
	   	      joint_msg.header.stamp.nanosec = time_ns % 1000000000;
	   	      joint_msg.position.data[0] = (double)p2;  // Left wheel
	   	      joint_msg.position.data[1] = (double)p3; // Right wheel
	   	      joint_msg.position.data[2] = (double)p_steer;   // Left steering
	   	      joint_msg.position.data[3] = (double)p_steer;   // Right steering
	   	      joint_msg.velocity.data[0] = (double)v2/WHEEL_RADIUS;
	   	      joint_msg.velocity.data[1] = (double)v3/WHEEL_RADIUS;
	   	      joint_msg.velocity.data[2] = 0.0;
	   	      joint_msg.velocity.data[3] = 0.0;
	   	      // Publish
	   	      rcl_ret_t ret3 =  rcl_publish(&joint_pub, &joint_msg, NULL);
	   	          if (ret3 != RCL_RET_OK) {
	   	           	  printf("Error publishing motor3 feedback (line %d)\n", __LINE__);
	   	          }
	  	  }
    osDelay(5);
  }
  /* USER CODE END 5 */
}

void Error_Handler(void)
{
  __disable_irq();
  while (1)
  {
  }
}
